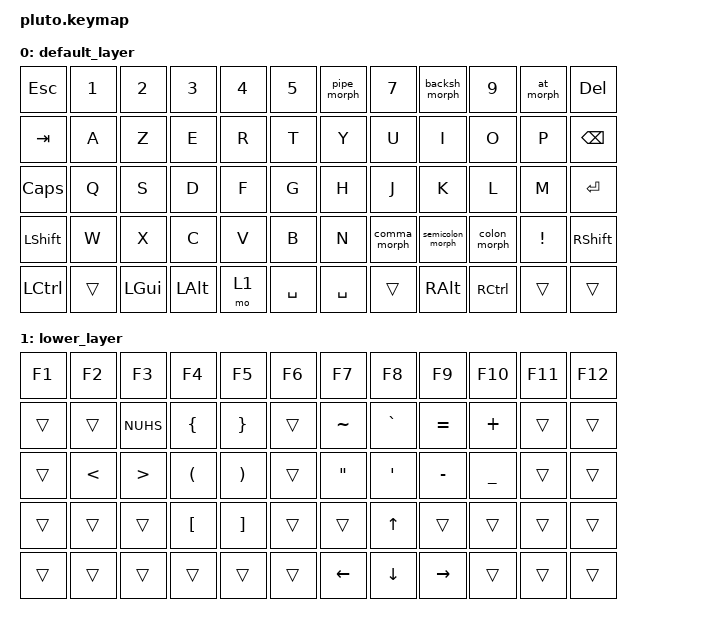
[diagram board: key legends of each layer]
#include <behaviors.dtsi>
#include <dt-bindings/zmk/keys.h>
#include <dt-bindings/zmk/bt.h>

/ {

    behaviors {
        comma_morph: comma_morph {
            compatible = "zmk,behavior-mod-morph";
            #binding-cells = <0>;
            bindings = <&kp COMMA>, <&kp QMARK>;
            mods = <(MOD_LSFT|MOD_RSFT)>;
        };

        semicolon_morph: semicolon_morph {
            compatible = "zmk,behavior-mod-morph";
            #binding-cells = <0>;
            bindings = <&kp SEMICOLON>, <&kp DOT>;
            mods = <(MOD_LSFT|MOD_RSFT)>;
        };

        colon_morph: colon_morph {
            compatible = "zmk,behavior-mod-morph";
            #binding-cells = <0>;
            bindings = <&kp COLON>, <&kp SLASH>;
            mods = <(MOD_LSFT|MOD_RSFT)>;
        };

        pipe_morph: pipe_morph {
            compatible = "zmk,behavior-mod-morph";
            #binding-cells = <0>;
            bindings = <&kp N6>, <&kp PIPE>;
            mods = <(MOD_RALT)>;
        };

        at_morph: at_morph {
            compatible = "zmk,behavior-mod-morph";
            #binding-cells = <0>;
            bindings = <&kp N0>, <&kp AT>;
            mods = <(MOD_RALT)>;
        };

        backsh_morph: backslash_morph {
            compatible = "zmk,behavior-mod-morph";
            #binding-cells = <0>;
            bindings = <&kp N8>, <&kp BACKSLASH>;
            mods = <(MOD_RALT)>;
        };
    };

/*
 * Pluto Keyboard — 5×6 split (60 keys total)
 * SPDX-License-Identifier: MIT
 *
 * Physical layout per half:
 *
 *  Row 0 (num):    C0   C1   C2   C3   C4   C5
 *  Row 1 (top):    C0   C1   C2   C3   C4   C5
 *  Row 2 (home):   C0   C1   C2   C3   C4   C5
 *  Row 3 (bottom): C0   C1   C2   C3   C4   C5
 *  Row 4 (mod):    C0   C1   C2   C3   C4   C5
 *
 * Full keyboard (left | right):
 *
 * DEFAULT layer:
 * ┌─────┬─────┬─────┬─────┬─────┬─────┐   ┌─────┬─────┬─────┬─────┬─────┬─────┐
 * │ ESC │  1  │  2  │  3  │  4  │  5  │   │  6  │  7  │  8  │  9  │  0  │ DEL │
 * ├─────┼─────┼─────┼─────┼─────┼─────┤   ├─────┼─────┼─────┼─────┼─────┼─────┤
 * │ TAB │  A  │  Z  │  E  │  R  │  T  │   │  Y  │  U  │  I  │  O  │  P  │BSPC │ 
 * ├─────┼─────┼─────┼─────┼─────┼─────┤   ├─────┼─────┼─────┼─────┼─────┼─────┤
 * │CAPS │  Q  │  S  │  D  │  F  │  G  │   │  H  │  J  │  K  │  L  │  M  │ ENT │
 * ├─────┼─────┼─────┼─────┼─────┼─────┤   ├─────┼─────┼─────┼─────┼─────┼─────┤
 * │ SFT │  W  │  X  │  C  │  V  │  B  │   │  N  │  ,  │  ;  │  :  │  !  │RSFT │
 * ├─────┼─────┼─────┼─────┼─────┼─────┤   ├─────┼─────┼─────┼─────┼─────┼─────┤
 * │CTRL │     │ GUI │ ALT │ L1  │ SPC │   │ SPC │LALT │RCTRL│     │     │ L2  │
 * └─────┴─────┴─────┴─────┴─────┴─────┘   └─────┴─────┴─────┴─────┴─────┴─────┘
 *
 * LOWER layer (hold L1):
 * ┌─────┬─────┬─────┬─────┬─────┬─────┐   ┌─────┬─────┬─────┬─────┬─────┬─────┐
 * │ FN1 │ FN2 │ FN3 │ FN4 │ FN5 │ FN6 │   │ FN7 │ FN8 │ FN9 │ F10 │ F11 │ F12 │
 * ├─────┼─────┼─────┼─────┼─────┼─────┤   ├─────┼─────┼─────┼─────┼─────┼─────┤
 * │     │     │  #  │  {  │  }  │     │   │  ~  │  `  │  =  │  +  │     │     │ 
 * ├─────┼─────┼─────┼─────┼─────┼─────┤   ├─────┼─────┼─────┼─────┼─────┼─────┤
 * │     │  <  │  >  │  (  │  )  │     │   │  "  │  '  │  -  │  _  │     │     │
 * ├─────┼─────┼─────┼─────┼─────┼─────┤   ├─────┼─────┼─────┼─────┼─────┼─────┤
 * │     │     │     │  [  │  ]  │     │   │     │  UP │     │     │     │     │
 * ├─────┼─────┼─────┼─────┼─────┼─────┤   ├─────┼─────┼─────┼─────┼─────┼─────┤
 * │     │     │     │     │     │     │   │ LFT │ DWN │ RGT │     │     │     │
 * └─────┴─────┴─────┴─────┴─────┴─────┘   └─────┴─────┴─────┴─────┴─────┴─────┘
 */

    keymap {
        compatible = "zmk,keymap";

        default_layer {
            // Row 0: num row
            // Row 1: top alpha row
            // Row 2: home row
            // Row 3: bottom row
            // Row 4: mod / thumb row
            bindings = <
/* Row 0 */ &kp ESC    &kp N1    &kp N2    &kp N3    &kp N4    &kp N5      /**/   &pipe_morph  &kp N7         &backsh_morph     &kp N9        &at_morph &kp DEL  
/* Row 1 */ &kp TAB    &kp A     &kp Z     &kp E     &kp R     &kp T       /**/   &kp Y        &kp U          &kp I             &kp O         &kp P     &kp BSPC      
/* Row 2 */ &kp CAPS   &kp Q     &kp S     &kp D     &kp F     &kp G       /**/   &kp H        &kp J          &kp K             &kp L         &kp M     &kp ENTER      
/* Row 3 */ &kp LSHIFT &kp W     &kp X     &kp C     &kp V     &kp B       /**/   &kp N        &comma_morph   &semicolon_morph  &colon_morph  &kp EXCL  &kp RSHIFT    
/* Row 4 */ &kp LCTRL  &trans    &kp LGUI  &kp LALT  &mo 1     &kp SPACE   /**/   &kp SPACE    &trans         &kp RALT          &kp RCTRL     &trans    &trans      
            >;
        };

        lower_layer {
            // Navigation, numbers and symbols
            bindings = <
/* Row 0 */ &kp F1    &kp F2         &kp F3             &kp F4    &kp F5    &kp F6   /**/   &kp F7       &kp F8       &kp F9    &kp F10   &kp F11    &kp F12
/* Row 1 */ &trans    &trans         &kp NUHS           &kp LBRC  &kp RBRC  &trans   /**/   &kp TILDE    &kp GRAVE    &kp EQUAL &kp PLUS  &trans     &trans
/* Row 2 */ &trans    &kp LESS_THAN  &kp GREATER_THAN   &kp LPAR  &kp RPAR  &trans   /**/   &kp DQT      &kp SQT      &kp MINUS &kp UNDER &trans     &trans
/* Row 3 */ &trans    &trans         &trans             &kp LBKT  &kp RBKT  &trans   /**/   &trans       &kp UP       &trans    &trans    &trans     &trans
/* Row 4 */ &trans    &trans         &trans             &trans    &trans    &trans   /**/   &kp LEFT     &kp DOWN     &kp RIGHT &trans    &trans     &trans
            >;
        };
    };
};
